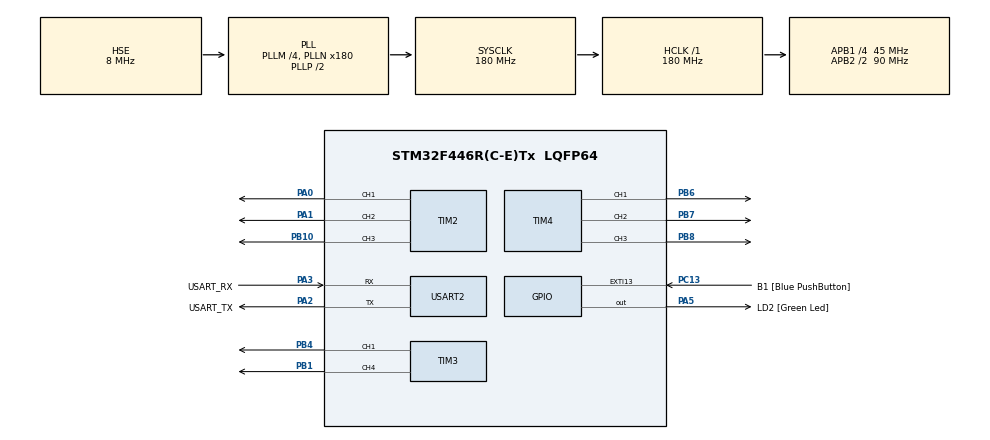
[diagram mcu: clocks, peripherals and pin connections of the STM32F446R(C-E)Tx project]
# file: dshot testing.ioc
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Dma.Request0=TIM4_CH1
Dma.Request1=TIM4_CH2
Dma.Request2=TIM4_CH3
Dma.Request3=TIM2_CH1
Dma.Request4=TIM2_CH2/CH4
Dma.Request5=TIM2_UP/CH3
Dma.Request6=TIM3_CH1/TRIG
Dma.Request7=TIM3_CH4/UP
Dma.TIM2_CH1.3.Direction=DMA_MEMORY_TO_PERIPH
Dma.TIM2_CH1.3.FIFOMode=DMA_FIFOMODE_ENABLE
Dma.TIM2_CH1.3.FIFOThreshold=DMA_FIFO_THRESHOLD_1QUARTERFULL
Dma.TIM2_CH1.3.Instance=DMA1_Stream5
Dma.TIM2_CH1.3.MemBurst=DMA_MBURST_SINGLE
Dma.TIM2_CH1.3.MemDataAlignment=DMA_MDATAALIGN_WORD
Dma.TIM2_CH1.3.MemInc=DMA_MINC_ENABLE
Dma.TIM2_CH1.3.Mode=DMA_NORMAL
Dma.TIM2_CH1.3.PeriphBurst=DMA_PBURST_SINGLE
Dma.TIM2_CH1.3.PeriphDataAlignment=DMA_PDATAALIGN_WORD
Dma.TIM2_CH1.3.PeriphInc=DMA_PINC_DISABLE
Dma.TIM2_CH1.3.Priority=DMA_PRIORITY_HIGH
Dma.TIM2_CH2/CH4.4.Direction=DMA_MEMORY_TO_PERIPH
Dma.TIM2_CH2/CH4.4.FIFOMode=DMA_FIFOMODE_ENABLE
Dma.TIM2_CH2/CH4.4.FIFOThreshold=DMA_FIFO_THRESHOLD_1QUARTERFULL
Dma.TIM2_CH2/CH4.4.Instance=DMA1_Stream6
Dma.TIM2_CH2/CH4.4.MemBurst=DMA_MBURST_SINGLE
Dma.TIM2_CH2/CH4.4.MemDataAlignment=DMA_MDATAALIGN_WORD
Dma.TIM2_CH2/CH4.4.MemInc=DMA_MINC_ENABLE
Dma.TIM2_CH2/CH4.4.Mode=DMA_NORMAL
Dma.TIM2_CH2/CH4.4.PeriphBurst=DMA_PBURST_SINGLE
Dma.TIM2_CH2/CH4.4.PeriphDataAlignment=DMA_PDATAALIGN_WORD
Dma.TIM2_CH2/CH4.4.PeriphInc=DMA_PINC_DISABLE
Dma.TIM2_CH2/CH4.4.Priority=DMA_PRIORITY_HIGH
Dma.TIM2_UP/CH3.5.Direction=DMA_MEMORY_TO_PERIPH
Dma.TIM2_UP/CH3.5.FIFOMode=DMA_FIFOMODE_ENABLE
Dma.TIM2_UP/CH3.5.FIFOThreshold=DMA_FIFO_THRESHOLD_1QUARTERFULL
Dma.TIM2_UP/CH3.5.Instance=DMA1_Stream1
Dma.TIM2_UP/CH3.5.MemBurst=DMA_MBURST_SINGLE
Dma.TIM2_UP/CH3.5.MemDataAlignment=DMA_MDATAALIGN_WORD
Dma.TIM2_UP/CH3.5.MemInc=DMA_MINC_ENABLE
Dma.TIM2_UP/CH3.5.Mode=DMA_NORMAL
Dma.TIM2_UP/CH3.5.PeriphBurst=DMA_PBURST_SINGLE
Dma.TIM2_UP/CH3.5.PeriphDataAlignment=DMA_PDATAALIGN_WORD
Dma.TIM2_UP/CH3.5.PeriphInc=DMA_PINC_DISABLE
Dma.TIM2_UP/CH3.5.Priority=DMA_PRIORITY_HIGH
Dma.TIM3_CH1/TRIG.6.Direction=DMA_MEMORY_TO_PERIPH
Dma.TIM3_CH1/TRIG.6.FIFOMode=DMA_FIFOMODE_ENABLE
Dma.TIM3_CH1/TRIG.6.FIFOThreshold=DMA_FIFO_THRESHOLD_1QUARTERFULL
Dma.TIM3_CH1/TRIG.6.Instance=DMA1_Stream4
Dma.TIM3_CH1/TRIG.6.MemBurst=DMA_MBURST_SINGLE
Dma.TIM3_CH1/TRIG.6.MemDataAlignment=DMA_MDATAALIGN_WORD
Dma.TIM3_CH1/TRIG.6.MemInc=DMA_MINC_ENABLE
Dma.TIM3_CH1/TRIG.6.Mode=DMA_NORMAL
Dma.TIM3_CH1/TRIG.6.PeriphBurst=DMA_PBURST_SINGLE
Dma.TIM3_CH1/TRIG.6.PeriphDataAlignment=DMA_PDATAALIGN_WORD
Dma.TIM3_CH1/TRIG.6.PeriphInc=DMA_PINC_DISABLE
Dma.TIM3_CH1/TRIG.6.Priority=DMA_PRIORITY_HIGH
Dma.TIM3_CH4/UP.7.Direction=DMA_MEMORY_TO_PERIPH
Dma.TIM3_CH4/UP.7.FIFOMode=DMA_FIFOMODE_ENABLE
Dma.TIM3_CH4/UP.7.FIFOThreshold=DMA_FIFO_THRESHOLD_1QUARTERFULL
Dma.TIM3_CH4/UP.7.Instance=DMA1_Stream2
Dma.TIM3_CH4/UP.7.MemBurst=DMA_MBURST_SINGLE
Dma.TIM3_CH4/UP.7.MemDataAlignment=DMA_MDATAALIGN_WORD
Dma.TIM3_CH4/UP.7.MemInc=DMA_MINC_ENABLE
Dma.TIM3_CH4/UP.7.Mode=DMA_NORMAL
Dma.TIM3_CH4/UP.7.PeriphBurst=DMA_PBURST_SINGLE
Dma.TIM3_CH4/UP.7.PeriphDataAlignment=DMA_PDATAALIGN_WORD
Dma.TIM3_CH4/UP.7.PeriphInc=DMA_PINC_DISABLE
Dma.TIM3_CH4/UP.7.Priority=DMA_PRIORITY_HIGH
Dma.TIM4_CH1.0.Direction=DMA_MEMORY_TO_PERIPH
Dma.TIM4_CH1.0.FIFOMode=DMA_FIFOMODE_ENABLE
Dma.TIM4_CH1.0.FIFOThreshold=DMA_FIFO_THRESHOLD_1QUARTERFULL
Dma.TIM4_CH1.0.Instance=DMA1_Stream0
Dma.TIM4_CH1.0.MemBurst=DMA_MBURST_SINGLE
Dma.TIM4_CH1.0.MemDataAlignment=DMA_MDATAALIGN_WORD
Dma.TIM4_CH1.0.MemInc=DMA_MINC_ENABLE
Dma.TIM4_CH1.0.Mode=DMA_NORMAL
Dma.TIM4_CH1.0.PeriphBurst=DMA_PBURST_SINGLE
Dma.TIM4_CH1.0.PeriphDataAlignment=DMA_PDATAALIGN_WORD
Dma.TIM4_CH1.0.PeriphInc=DMA_PINC_DISABLE
Dma.TIM4_CH1.0.Priority=DMA_PRIORITY_HIGH
Dma.TIM4_CH2.1.Direction=DMA_MEMORY_TO_PERIPH
Dma.TIM4_CH2.1.FIFOMode=DMA_FIFOMODE_ENABLE
Dma.TIM4_CH2.1.FIFOThreshold=DMA_FIFO_THRESHOLD_1QUARTERFULL
Dma.TIM4_CH2.1.Instance=DMA1_Stream3
Dma.TIM4_CH2.1.MemBurst=DMA_MBURST_SINGLE
Dma.TIM4_CH2.1.MemDataAlignment=DMA_MDATAALIGN_WORD
Dma.TIM4_CH2.1.MemInc=DMA_MINC_ENABLE
Dma.TIM4_CH2.1.Mode=DMA_NORMAL
Dma.TIM4_CH2.1.PeriphBurst=DMA_PBURST_SINGLE
Dma.TIM4_CH2.1.PeriphDataAlignment=DMA_PDATAALIGN_WORD
Dma.TIM4_CH2.1.PeriphInc=DMA_PINC_DISABLE
Dma.TIM4_CH2.1.Priority=DMA_PRIORITY_HIGH
Dma.TIM4_CH3.2.Direction=DMA_MEMORY_TO_PERIPH
Dma.TIM4_CH3.2.FIFOMode=DMA_FIFOMODE_ENABLE
Dma.TIM4_CH3.2.FIFOThreshold=DMA_FIFO_THRESHOLD_1QUARTERFULL
Dma.TIM4_CH3.2.Instance=DMA1_Stream7
Dma.TIM4_CH3.2.MemBurst=DMA_MBURST_SINGLE
Dma.TIM4_CH3.2.MemDataAlignment=DMA_MDATAALIGN_WORD
Dma.TIM4_CH3.2.MemInc=DMA_MINC_ENABLE
Dma.TIM4_CH3.2.Mode=DMA_NORMAL
Dma.TIM4_CH3.2.PeriphBurst=DMA_PBURST_SINGLE
Dma.TIM4_CH3.2.PeriphDataAlignment=DMA_PDATAALIGN_WORD
Dma.TIM4_CH3.2.PeriphInc=DMA_PINC_DISABLE
Dma.TIM4_CH3.2.Priority=DMA_PRIORITY_HIGH
Mcu.Family=STM32F4
Mcu.Name=STM32F446R(C-E)Tx
Mcu.Package=LQFP64
NVIC.DMA1_Stream0_IRQn=true\:0\:0\:false\:false\:true\:false\:true\:true
NVIC.DMA1_Stream1_IRQn=true\:0\:0\:false\:false\:true\:false\:true\:true
NVIC.DMA1_Stream2_IRQn=true\:0\:0\:false\:false\:true\:false\:true\:true
NVIC.DMA1_Stream3_IRQn=true\:0\:0\:false\:false\:true\:false\:true\:true
NVIC.DMA1_Stream4_IRQn=true\:0\:0\:false\:false\:true\:false\:true\:true
NVIC.DMA1_Stream5_IRQn=true\:0\:0\:false\:false\:true\:false\:true\:true
NVIC.DMA1_Stream6_IRQn=true\:0\:0\:false\:false\:true\:false\:true\:true
NVIC.DMA1_Stream7_IRQn=true\:0\:0\:false\:false\:true\:false\:true\:true
NVIC.PriorityGroup=NVIC_PRIORITYGROUP_0
PA0-WKUP.Signal=S_TIM2_CH1_ETR
PA1.Signal=S_TIM2_CH2
PA13.GPIO_Label=TMS
PA13.Mode=Trace_Asynchronous_SW
PA13.Signal=SYS_JTMS-SWDIO
PA14.GPIO_Label=TCK
PA14.Mode=Trace_Asynchronous_SW
PA14.Signal=SYS_JTCK-SWCLK
PA2.GPIO_Label=USART_TX
PA2.Mode=Asynchronous
PA2.Signal=USART2_TX
PA3.GPIO_Label=USART_RX
PA3.Mode=Asynchronous
PA3.Signal=USART2_RX
PA5.GPIO_Label=LD2 [Green Led]
PA5.Signal=GPIO_Output
PB1.Signal=S_TIM3_CH4
PB10.Signal=S_TIM2_CH3
PB3.GPIO_Label=SWO
PB3.Mode=Trace_Asynchronous_SW
PB3.Signal=SYS_JTDO-SWO
PB4.Signal=S_TIM3_CH1
PB6.Signal=S_TIM4_CH1
PB7.Signal=S_TIM4_CH2
PB8.Signal=S_TIM4_CH3
PC13.GPIO_Label=B1 [Blue PushButton]
PC13.GPIO_ModeDefaultEXTI=GPIO_MODE_IT_FALLING
PC13.Signal=GPXTI13
PC14-OSC32_IN.Mode=LSE-External-Oscillator
PC14-OSC32_IN.Signal=RCC_OSC32_IN
PC15-OSC32_OUT.Mode=LSE-External-Oscillator
PC15-OSC32_OUT.Signal=RCC_OSC32_OUT
PH0-OSC_IN.Mode=HSE-External-Oscillator
PH0-OSC_IN.Signal=RCC_OSC_IN
PH1-OSC_OUT.Mode=HSE-External-Oscillator
PH1-OSC_OUT.Signal=RCC_OSC_OUT
ProjectManager.HeapSize=0x200
ProjectManager.StackSize=0x400
ProjectManager.TargetToolchain=STM32CubeIDE
RCC.48MHZClocksFreq_Value=84000000
RCC.AHBFreq_Value=180000000
RCC.APB1CLKDivider=RCC_HCLK_DIV4
RCC.APB1Freq_Value=45000000
RCC.APB1TimFreq_Value=90000000
RCC.APB2CLKDivider=RCC_HCLK_DIV2
RCC.APB2Freq_Value=90000000
RCC.APB2TimFreq_Value=180000000
RCC.CortexFreq_Value=180000000
RCC.FLatency-AdvancedSettings=FLASH_LATENCY_5
RCC.HCLKFreq_Value=180000000
RCC.HSE_VALUE=8000000
RCC.HSI_VALUE=16000000
RCC.LSE_Drive_CapabilityArg=+LSE_Drive_Capability
RCC.PLLM=4
RCC.PLLN=180
RCC.PLLSourceVirtual=RCC_PLLSOURCE_HSE
RCC.SYSCLKFreq_VALUE=180000000
RCC.SYSCLKSource=RCC_SYSCLKSOURCE_PLLCLK
RCC.USBFreq_Value=180000000
RCC.VCOOutputFreq_Value=360000000
SH.S_TIM2_CH1_ETR.0=TIM2_CH1,PWM Generation1 CH1
SH.S_TIM2_CH2.0=TIM2_CH2,PWM Generation2 CH2
SH.S_TIM2_CH3.0=TIM2_CH3,PWM Generation3 CH3
SH.S_TIM3_CH1.0=TIM3_CH1,PWM Generation1 CH1
SH.S_TIM3_CH4.0=TIM3_CH4,PWM Generation4 CH4
SH.S_TIM4_CH1.0=TIM4_CH1,PWM Generation1 CH1
SH.S_TIM4_CH2.0=TIM4_CH2,PWM Generation2 CH2
SH.S_TIM4_CH3.0=TIM4_CH3,PWM Generation3 CH3
TIM2.Channel-PWM\ Generation1\ CH1=TIM_CHANNEL_1
TIM2.Channel-PWM\ Generation2\ CH2=TIM_CHANNEL_2
TIM2.Channel-PWM\ Generation3\ CH3=TIM_CHANNEL_3
TIM3.Channel-PWM\ Generation1\ CH1=TIM_CHANNEL_1
TIM3.Channel-PWM\ Generation4\ CH4=TIM_CHANNEL_4
TIM4.Channel-PWM\ Generation1\ CH1=TIM_CHANNEL_1
TIM4.Channel-PWM\ Generation2\ CH2=TIM_CHANNEL_2
TIM4.Channel-PWM\ Generation3\ CH3=TIM_CHANNEL_3
USART2.VirtualMode=VM_ASYNC
board=NUCLEO-F446RE

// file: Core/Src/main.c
/* USER CODE BEGIN Header */
/**
  ******************************************************************************
  * @file           : main.c
  * @brief          : Main program body
  ******************************************************************************
  * @attention
  *
  * Copyright (c) 2025 STMicroelectronics.
  * All rights reserved.
  *
  * This software is licensed under terms that can be found in the LICENSE file
  * in the root directory of this software component.
  * If no LICENSE file comes with this software, it is provided AS-IS.
  *
  ******************************************************************************
  */
/* USER CODE END Header */
#include "main.h"
#include "dma.h"
#include "tim.h"
#include "usart.h"
#include "gpio.h"

/* USER CODE BEGIN Includes */

#include "dshot.h"

/* USER CODE END Includes */

void SystemClock_Config(void);

/* USER CODE BEGIN 0 */
// 4 motor value
uint16_t my_motor_value[8] = { 0, 0, 0, 0, 0, 0, 0, 0 };
uint16_t motorValue = 0;

float motorValueFloat = 0;

float clamp(float input, float min, float max) {
	if (input > max) {
		return max;
	}
	if (input < min) {
		return min;
	}
	return input;
}
int clampInt(int input, int min, int max) {
	if (input > max) {
		return max;
	}
	if (input < min) {
		return min;
	}
	return input;
}
uint16_t motorValueFromFloat(float motorPower) {
	motorPower = clamp(motorPower, -1, 1);

	if (motorPower < 0) {
		return clampInt((-motorPower) * 1000 + 48, 48, 1047);
	}

	return clampInt(motorPower * 1000 + 1048, 1048, 2048);
}

int throttle = 0;

float period = 6000;
float magnatude = 0.3;
/* USER CODE END 0 */

int main(void)
{

  /* MCU Configuration--------------------------------------------------------*/

  /* Reset of all peripherals, Initializes the Flash interface and the Systick. */
  HAL_Init();

  /* Configure the system clock */
  SystemClock_Config();

  /* Initialize all configured peripherals */
  MX_GPIO_Init();
  MX_DMA_Init();
  MX_USART2_UART_Init();
  MX_TIM4_Init();
  MX_TIM2_Init();
  MX_TIM3_Init();
  /* USER CODE BEGIN 2 */
	// initialize
	dshot_init(DSHOT150);
  /* USER CODE END 2 */

  /* Infinite loop */
  /* USER CODE BEGIN WHILE */
  while (1)
  {
//		motorValueFloat = (float) throttle / 1000;

//		motorValueFloat = sin(HAL_GetTick() / period) * magnatude;

		motorValue = motorValueFromFloat(motorValueFloat);

		my_motor_value[0] = motorValue;
		my_motor_value[1] = motorValue;
		my_motor_value[2] = motorValue;
		my_motor_value[3] = motorValue;

		my_motor_value[4] = motorValue;
		my_motor_value[5] = motorValue;
		my_motor_value[6] = motorValue;
		my_motor_value[7] = motorValue;

		dshot_write(my_motor_value);
		HAL_Delay(1);
//
//		if (HAL_GetTick() < 2000)
//				{
//		// transmit new dshot signals
//		dshot_write(my_motor_value);
//		HAL_Delay(1);
//		}

    /* USER CODE END WHILE */

  }
}

void SystemClock_Config(void)
{
  RCC_OscInitTypeDef RCC_OscInitStruct = {0};
  RCC_ClkInitTypeDef RCC_ClkInitStruct = {0};

  /** Configure the main internal regulator output voltage
  */
  __HAL_RCC_PWR_CLK_ENABLE();
  __HAL_PWR_VOLTAGESCALING_CONFIG(PWR_REGULATOR_VOLTAGE_SCALE1);

  /** Initializes the RCC Oscillators according to the specified parameters
  * in the RCC_OscInitTypeDef structure.
  */
  RCC_OscInitStruct.OscillatorType = RCC_OSCILLATORTYPE_HSE;
  RCC_OscInitStruct.HSEState = RCC_HSE_ON;
  RCC_OscInitStruct.PLL.PLLState = RCC_PLL_ON;
  RCC_OscInitStruct.PLL.PLLSource = RCC_PLLSOURCE_HSE;
  RCC_OscInitStruct.PLL.PLLM = 4;
  RCC_OscInitStruct.PLL.PLLN = 180;
  RCC_OscInitStruct.PLL.PLLP = RCC_PLLP_DIV2;
  RCC_OscInitStruct.PLL.PLLQ = 2;
  RCC_OscInitStruct.PLL.PLLR = 2;
  if (HAL_RCC_OscConfig(&RCC_OscInitStruct) != HAL_OK)
  {
    Error_Handler();
  }

  /** Activate the Over-Drive mode
  */
  if (HAL_PWREx_EnableOverDrive() != HAL_OK)
  {
    Error_Handler();
  }

  /** Initializes the CPU, AHB and APB buses clocks
  */
  RCC_ClkInitStruct.ClockType = RCC_CLOCKTYPE_HCLK|RCC_CLOCKTYPE_SYSCLK
                              |RCC_CLOCKTYPE_PCLK1|RCC_CLOCKTYPE_PCLK2;
  RCC_ClkInitStruct.SYSCLKSource = RCC_SYSCLKSOURCE_PLLCLK;
  RCC_ClkInitStruct.AHBCLKDivider = RCC_SYSCLK_DIV1;
  RCC_ClkInitStruct.APB1CLKDivider = RCC_HCLK_DIV4;
  RCC_ClkInitStruct.APB2CLKDivider = RCC_HCLK_DIV2;

  if (HAL_RCC_ClockConfig(&RCC_ClkInitStruct, FLASH_LATENCY_5) != HAL_OK)
  {
    Error_Handler();
  }
}

void Error_Handler(void)
{
  __disable_irq();
  while (1)
  {
  }
}
